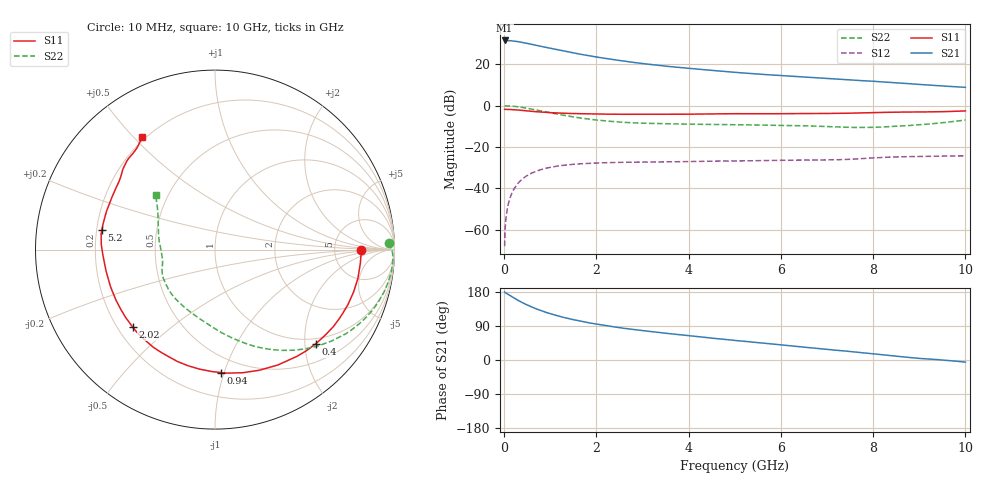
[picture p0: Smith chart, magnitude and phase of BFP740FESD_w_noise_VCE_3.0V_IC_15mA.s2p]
! Infineon Technologies  Discrete & RF Semiconductors
! BFP740FESD
! VCE =  3.0 V,  IC =  15 mA
! Common Emitter S-Parameters:  Jan 2016
# GHz  S  MA  R  50
!  f  S11  S21  S12  S22
! GHz  MAG  ANG  MAG  ANG  MAG  ANG  MAG  ANG
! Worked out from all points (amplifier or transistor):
!   233 points, 10 MHz to 10 GHz, reference 50 ohm
!   highest |S21| = 31.6 dB at 10 MHz (marker M1)
!   |S21| within 3 dB of that: start of sweep to 832.1 MHz
!   unconditionally stable (mu >= 1): 6.026 GHz to end of sweep
!   at 200 MHz: K = 0.07, MSG = 36.1 dB, |S12| = -40.8 dB
!   at 1.74 GHz: K = 0.38, MSG = 26.3 dB, |S12| = -28.0 dB
!   at 10 GHz: K = 1.23, MAG = 13.7 dB, |S12| = -24.3 dB
!   lowest NFmin = 0.70 dB at 450 MHz
!   S11 on the Smith chart (normalised r, x): 10 MHz: 9.87, -0.25; 400 MHz: 0.87, -2.24; 940 MHz: 0.38, -0.97; 2.02 GHz: 0.26, -0.37; 5.2 GHz: 0.22, +0.08; 10 GHz: 0.19, +0.53
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0.01  0.8161 -0.3  37.84 179.5  0.0004 91.2  0.9704 2.1
0.02  0.8138 -2.3  37.72 178.1  0.001 88.3  0.9898 -1.1
0.06  0.8125 -6.6  37.52 175.1  0.0028 85.7  0.9921 -4.0
0.1  0.8123 -11.4  37.53 172.3  0.0047 83.6  0.9902 -7.0
0.195  0.8019 -21.9  36.79 165.1  0.0089 78.3  0.9716 -13.8
0.26  0.7922 -28.9  35.86 160.1  0.0116 74.8  0.9534 -18.3
0.4  0.7683 -43.1  33.81 151.0  0.017 67.9  0.9045 -27.1
0.5  0.7495 -52.6  32.15 145.1  0.0205 63.3  0.8655 -32.9
0.6  0.7321 -61.4  30.47 139.6  0.0235 59.1  0.8247 -38.2
0.72  0.7127 -71.3  28.54 133.8  0.0267 54.6  0.7773 -44.1
0.94  0.6857 -87.3  25.29 124.5  0.0313 47.5  0.6958 -53.7
1.12  0.6693 -98.7  22.95 117.9  0.0343 42.8  0.6362 -60.9
1.28  0.6583 -107.6  21.1 112.7  0.0362 39.0  0.5895 -66.8
1.68  0.6389 -125.5  17.36 101.8  0.0395 32.1  0.4992 -79.3
2.02  0.6298 -136.8  14.93 94.4  0.0412 28.2  0.4486 -88.3
2.6  0.6197 -152.6  11.96 83.6  0.0427 23.3  0.3951 -102.2
3.4  0.6174 -167.3  9.302 72.1  0.0436 20.3  0.3682 -115.1
5.1  0.64 171.1  6.286 50.5  0.0462 18.5  0.3453 -135.1
5.2  0.6396 170.1  6.165 49.4  0.0464 18.5  0.3441 -136.2
6.8  0.6461 150.9  4.692 30.3  0.0484 18.8  0.3193 -157.2
8.4  0.6951 135.2  3.647 11.3  0.0572 20.5  0.3142 171.6
10  0.7477 122.8  2.779 -5.6  0.0613 15.1  0.4496 137.4
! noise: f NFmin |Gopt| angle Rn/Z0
0.45  0.7  0.1  -3  0.09
2.4  0.74  0.04  45  0.1
5.5  0.9  0.24  150  0.08
10  1.43  0.37  -126  0.15
